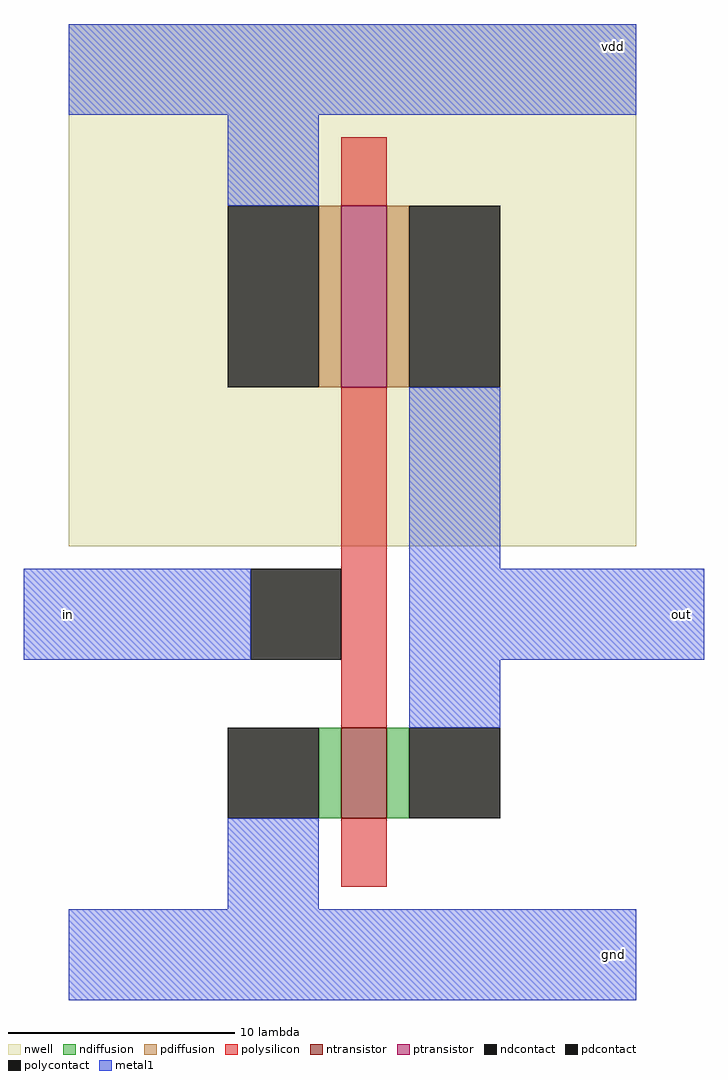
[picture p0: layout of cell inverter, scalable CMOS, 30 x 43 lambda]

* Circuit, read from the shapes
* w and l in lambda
.subckt inverter gnd in out vdd
M1 out in gnd VSUBS nfet w=4 l=2
M2 out in vdd n1 pfet w=8 l=2
.ends

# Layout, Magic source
magic
tech scmos
<< nwell >>
rect -8 -5 17 18
<< ntransistor >>
rect 4 -17 6 -13
<< ptransistor >>
rect 4 2 6 10
<< ndiffusion >>
rect 3 -17 4 -13
rect 6 -17 7 -13
<< pdiffusion >>
rect 3 2 4 10
rect 6 2 7 10
<< ndcontact >>
rect -1 -17 3 -13
rect 7 -17 11 -13
<< pdcontact >>
rect -1 2 3 10
rect 7 2 11 10
<< polysilicon >>
rect 4 10 6 13
rect 4 -13 6 2
rect 4 -20 6 -17
<< polycontact >>
rect 0 -10 4 -6
<< metal1 >>
rect -8 14 17 18
rect -1 10 3 14
rect 7 -6 11 2
rect -10 -10 0 -6
rect 7 -10 20 -6
rect 7 -13 11 -10
rect -1 -21 3 -17
rect -8 -25 17 -21
<< labels >>
rlabel metal1 -8 -8 -8 -8 3 in
rlabel metal1 19 -8 19 -8 7 out
rlabel metal1 16 17 16 17 6 vdd
rlabel metal1 16 -23 16 -23 8 gnd
<< end >>
